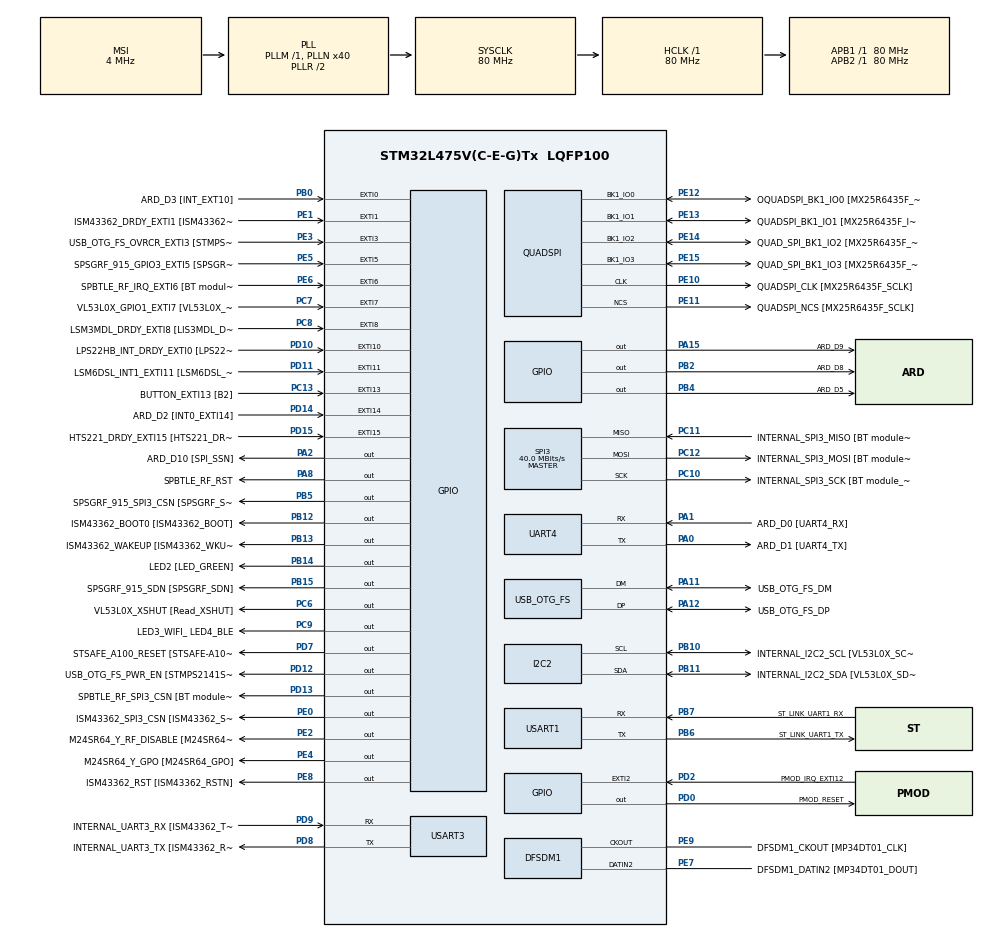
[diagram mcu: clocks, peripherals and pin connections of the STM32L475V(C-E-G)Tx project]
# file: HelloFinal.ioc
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Mcu.Family=STM32L4
Mcu.Name=STM32L475V(C-E-G)Tx
Mcu.Package=LQFP100
NVIC.EXTI15_10_IRQn=true\:0\:0\:false\:false\:true\:true\:true\:true
NVIC.EXTI9_5_IRQn=true\:0\:0\:false\:false\:true\:true\:true\:true
NVIC.PriorityGroup=NVIC_PRIORITYGROUP_4
PA0.GPIO_Label=ARD_D1 [UART4_TX]
PA0.Mode=Asynchronous
PA0.Signal=UART4_TX
PA1.GPIO_Label=ARD_D0 [UART4_RX]
PA1.Mode=Asynchronous
PA1.Signal=UART4_RX
PA10.GPIO_Label=USB_OTG_FS_ID
PA10.Signal=USB_OTG_FS_ID
PA11.GPIO_Label=USB_OTG_FS_DM
PA11.Mode=Device_Only
PA11.Signal=USB_OTG_FS_DM
PA12.GPIO_Label=USB_OTG_FS_DP
PA12.Mode=Device_Only
PA12.Signal=USB_OTG_FS_DP
PA13\ (JTMS-SWDIO).GPIO_Label=SYS_JTMS_SWDIO
PA13\ (JTMS-SWDIO).Mode=Serial_Wire
PA13\ (JTMS-SWDIO).Signal=SYS_JTMS-SWDIO
PA14\ (JTCK-SWCLK).GPIO_Label=SYS_JTCK_SWCLK
PA14\ (JTCK-SWCLK).Mode=Serial_Wire
PA14\ (JTCK-SWCLK).Signal=SYS_JTCK-SWCLK
PA15\ (JTDI).GPIO_Label=ARD_D9
PA15\ (JTDI).Signal=GPIO_Output
PA2.GPIO_Label=ARD_D10 [SPI_SSN]
PA2.Signal=GPIO_Output
PA3.GPIO_Label=ARD_D4
PA3.Signal=S_TIM2_CH4
PA4.GPIO_Label=ARD_D7
PA4.Signal=ADCx_IN9
PA5.GPIO_Label=ARD_D13 [SPI1_SCK]
PA5.Signal=SPI1_SCK
PA6.GPIO_Label=ARD_D12 [SPI1_MISO]
PA6.Signal=SPI1_MISO
PA7.GPIO_Label=ARD_D11 [SPI1_MOSI]
PA7.Signal=SPI1_MOSI
PA8.GPIO_Label=SPBTLE_RF_RST
PA8.Signal=GPIO_Output
PA9.GPIO_Label=USB_OTG_FS_VBUS [STMPS2141STR_OUT]
PA9.Signal=USB_OTG_FS_VBUS
PB0.GPIO_Label=ARD_D3 [INT_EXT10]
PB0.Signal=GPXTI0
PB1.GPIO_Label=ARD_D6 [ADC1_IN6]
PB1.Signal=ADCx_IN16
PB10.GPIO_Label=INTERNAL_I2C2_SCL [VL53L0X_SCL]
PB10.GPIO_Pu=GPIO_PULLUP
PB10.Mode=I2C
PB10.Signal=I2C2_SCL
PB11.GPIO_Label=INTERNAL_I2C2_SDA [VL53L0X_SDA]
PB11.GPIO_Pu=GPIO_PULLUP
PB11.Mode=I2C
PB11.Signal=I2C2_SDA
PB12.GPIO_Label=ISM43362_BOOT0 [ISM43362_BOOT]
PB12.Signal=GPIO_Output
PB13.GPIO_Label=ISM43362_WAKEUP [ISM43362_WKUP]
PB13.Signal=GPIO_Output
PB14.GPIO_Label=LED2 [LED_GREEN]
PB14.Signal=GPIO_Output
PB15.GPIO_Label=SPSGRF_915_SDN [SPSGRF_SDN]
PB15.Signal=GPIO_Output
PB2.GPIO_Label=ARD_D8
PB2.Signal=GPIO_Output
PB3\ (JTDO-TRACESWO).GPIO_Label=SYS_JTD0_SWO
PB3\ (JTDO-TRACESWO).Signal=SYS_JTDO-SWO
PB4\ (NJTRST).GPIO_Label=ARD_D5
PB4\ (NJTRST).Signal=GPIO_Output
PB5.GPIO_Label=SPSGRF_915_SPI3_CSN [SPSGRF_SPI_CS]
PB5.PinState=GPIO_PIN_SET
PB5.Signal=GPIO_Output
PB6.GPIO_Label=ST_LINK_UART1_TX
PB6.Mode=Asynchronous
PB6.Signal=USART1_TX
PB7.GPIO_Label=ST_LINK_UART1_RX
PB7.Mode=Asynchronous
PB7.Signal=USART1_RX
PB8.GPIO_Label=ARD_D15 [I2C1_SCL]
PB8.Signal=I2C1_SCL
PB9.GPIO_Label=ARD_D14 [I2C1_SDA]
PB9.Signal=I2C1_SDA
PC0.GPIO_Label=ARD_A5 [ADC]
PC0.Signal=ADCx_IN1
PC1.GPIO_Label=ARD_A4 [ADC]
PC1.Signal=ADCx_IN2
PC10.GPIO_Label=INTERNAL_SPI3_SCK [BT module_SPI_SCLK] [ISM43362_SCK]
PC10.Mode=Full_Duplex_Master
PC10.Signal=SPI3_SCK
PC11.GPIO_Label=INTERNAL_SPI3_MISO [BT module_SPI_MISO] [ISM43362_MISO]
PC11.Mode=Full_Duplex_Master
PC11.Signal=SPI3_MISO
PC12.GPIO_Label=INTERNAL_SPI3_MOSI [BT module_SPI_MOSI] [ISM43362_MOSI]
PC12.Mode=Full_Duplex_Master
PC12.Signal=SPI3_MOSI
PC13.GPIO_Label=BUTTON_EXTI13 [B2]
PC13.GPIO_ModeDefaultEXTI=GPIO_MODE_IT_FALLING
PC13.Signal=GPXTI13
PC14-OSC32_IN\ (PC14).Mode=LSE-External-Oscillator
PC14-OSC32_IN\ (PC14).Signal=RCC_OSC32_IN
PC15-OSC32_OUT\ (PC15).Mode=LSE-External-Oscillator
PC15-OSC32_OUT\ (PC15).Signal=RCC_OSC32_OUT
PC2.GPIO_Label=ARD_A3 [ADC]
PC2.Signal=ADCx_IN3
PC3.GPIO_Label=ARD_A2 [ADC]
PC3.Signal=ADCx_IN4
PC4.GPIO_Label=ARD_A1 [ADC]
PC4.Signal=ADCx_IN13
PC5.GPIO_Label=ARD_A0 [ADC]
PC5.Signal=ADCx_IN14
PC6.GPIO_Label=VL53L0X_XSHUT [Read_XSHUT]
PC6.Signal=GPIO_Output
PC7.GPIO_Label=VL53L0X_GPIO1_EXTI7 [VL53L0X_GPIO1]
PC7.Signal=GPXTI7
PC8.GPIO_Label=LSM3MDL_DRDY_EXTI8 [LIS3MDL_DRDY]
PC8.Signal=GPXTI8
PC9.GPIO_Label=LED3_WIFI_ LED4_BLE
PC9.Signal=GPIO_Output
PD0.GPIO_Label=PMOD_RESET
PD0.Signal=GPIO_Output
PD1.GPIO_Label=PMOD_SPI2_SCK
PD1.Signal=SPI2_SCK
PD10.GPIO_Label=LPS22HB_INT_DRDY_EXTI0 [LPS22HB_INT_DRDY] 
PD10.Signal=GPXTI10
PD11.GPIO_Label=LSM6DSL_INT1_EXTI11 [LSM6DSL_INT1]
PD11.Signal=GPXTI11
PD12.GPIO_Label=USB_OTG_FS_PWR_EN [STMPS2141STR_EN]
PD12.Signal=GPIO_Output
PD13.GPIO_Label=SPBTLE_RF_SPI3_CSN [BT module_SPI_CS]
PD13.PinState=GPIO_PIN_SET
PD13.Signal=GPIO_Output
PD14.GPIO_Label=ARD_D2 [INT0_EXTI14]
PD14.Signal=GPXTI14
PD15.GPIO_Label=HTS221_DRDY_EXTI15 [HTS221_DRDY]
PD15.Signal=GPXTI15
PD2.GPIO_Label=PMOD_IRQ_EXTI12
PD2.Signal=GPXTI2
PD3.GPIO_Label=PMOD_UART2_CTS
PD3.Signal=USART2_CTS
PD4.GPIO_Label=PMOD_UART2_RTS
PD4.Signal=USART2_RTS
PD5.GPIO_Label=PMOD_UART2_TX
PD5.Signal=USART2_TX
PD6.GPIO_Label=PMOD_UART2_RX
PD6.Signal=USART2_RX
PD7.GPIO_Label=STSAFE_A100_RESET [STSAFE-A100_RESET]
PD7.Signal=GPIO_Output
PD8.GPIO_Label=INTERNAL_UART3_TX [ISM43362_RX]
PD8.Mode=Asynchronous
PD8.Signal=USART3_TX
PD9.GPIO_Label=INTERNAL_UART3_RX [ISM43362_TX]
PD9.Mode=Asynchronous
PD9.Signal=USART3_RX
PE0.GPIO_Label=ISM43362_SPI3_CSN [ISM43362_SSN]
PE0.PinState=GPIO_PIN_SET
PE0.Signal=GPIO_Output
PE1.GPIO_Label=ISM43362_DRDY_EXTI1 [ISM43362_DATARDY]
PE1.Signal=GPXTI1
PE10.GPIO_Label=QUADSPI_CLK [MX25R6435F_SCLK]
PE10.Mode=Single Bank
PE10.Signal=QUADSPI_CLK
PE11.GPIO_Label=QUADSPI_NCS [MX25R6435F_SCLK]
PE11.Mode=Single Bank
PE11.Signal=QUADSPI_NCS
PE12.GPIO_Label=OQUADSPI_BK1_IO0 [MX25R6435F_IO0]
PE12.Mode=Single Bank
PE12.Signal=QUADSPI_BK1_IO0
PE13.GPIO_Label=QUADSPI_BK1_IO1 [MX25R6435F_IO1]
PE13.Mode=Single Bank
PE13.Signal=QUADSPI_BK1_IO1
PE14.GPIO_Label=QUAD_SPI_BK1_IO2 [MX25R6435F_IO2]
PE14.Mode=Single Bank
PE14.Signal=QUADSPI_BK1_IO2
PE15.GPIO_Label=QUAD_SPI_BK1_IO3 [MX25R6435F_IO3]
PE15.Mode=Single Bank
PE15.Signal=QUADSPI_BK1_IO3
PE2.GPIO_Label=M24SR64_Y_RF_DISABLE [M24SR64_RFDIS]
PE2.Signal=GPIO_Output
PE3.GPIO_Label=USB_OTG_FS_OVRCR_EXTI3 [STMPS2141STR_FAULT]
PE3.Signal=GPXTI3
PE4.GPIO_Label=M24SR64_Y_GPO [M24SR64_GPO]
PE4.Signal=GPIO_Output
PE5.GPIO_Label=SPSGRF_915_GPIO3_EXTI5 [SPSGRF_GPIO_3]
PE5.Signal=GPXTI5
PE6.GPIO_Label=SPBTLE_RF_IRQ_EXTI6 [BT module_SPI_IRQ]
PE6.Signal=GPXTI6
PE7.GPIO_Label=DFSDM1_DATIN2 [MP34DT01_DOUT]
PE7.Signal=S_DATAIN2DFSDM1
PE8.GPIO_Label=ISM43362_RST [ISM43362_RSTN]
PE8.Signal=GPIO_Output
PE9.GPIO_Label=DFSDM1_CKOUT [MP34DT01_CLK]
PE9.Signal=S_CKOUTDFSDM1
ProjectManager.HeapSize=0x200
ProjectManager.StackSize=0x400
ProjectManager.TargetToolchain=STM32CubeIDE
QUADSPI.ClockPrescaler=2
QUADSPI.FifoThreshold=4
QUADSPI.FlashSize=23
QUADSPI.SampleShifting=QSPI_SAMPLE_SHIFTING_HALFCYCLE
RCC.ADCFreq_Value=48000000
RCC.AHBFreq_Value=80000000
RCC.APB1Freq_Value=80000000
RCC.APB1TimFreq_Value=80000000
RCC.APB2Freq_Value=80000000
RCC.APB2TimFreq_Value=80000000
RCC.CortexFreq_Value=80000000
RCC.HCLKFreq_Value=80000000
RCC.HSE_VALUE=8000000
RCC.HSI_VALUE=16000000
RCC.MSI_VALUE=4000000
RCC.PLLN=40
RCC.PLLSAI1N=24
RCC.SYSCLKFreq_VALUE=80000000
RCC.SYSCLKSource=RCC_SYSCLKSOURCE_PLLCLK
RCC.USBFreq_Value=48000000
RCC.VCOOutputFreq_Value=160000000
SH.ADCx_IN1.0=ADC1_IN1
SH.ADCx_IN13.0=ADC1_IN13
SH.ADCx_IN14.0=ADC1_IN14
SH.ADCx_IN16.0=ADC1_IN16
SH.ADCx_IN2.0=ADC1_IN2
SH.ADCx_IN3.0=ADC1_IN3
SH.ADCx_IN4.0=ADC1_IN4
SH.ADCx_IN9.0=ADC1_IN9
SH.S_CKOUTDFSDM1.0=DFSDM1_CKOUT,CKOUT
SH.S_CKOUTDFSDM1.1=DFSDM1_CKOUT,PDM_SPI_Input_from_ch12_and_Internal_Clock
SH.S_DATAIN2DFSDM1.0=DFSDM1_DATIN2,PDM_SPI_Input_from_ch12_and_Internal_Clock
SH.S_TIM2_CH4.0=TIM2_CH4
SPI3.CalculateBaudRate=40.0 MBits/s
SPI3.Direction=SPI_DIRECTION_2LINES
SPI3.Mode=SPI_MODE_MASTER
SPI3.VirtualType=VM_MASTER
USART1.VirtualMode-Asynchronous=VM_ASYNC
USART3.VirtualMode-Asynchronous=VM_ASYNC
USB_OTG_FS.VirtualMode=Device_Only
board=B-L475E-IOT01A1

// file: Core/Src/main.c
/* USER CODE BEGIN Header */
/**
  ******************************************************************************
  * @file           : main.c
  * @brief          : Main program body
  ******************************************************************************
  * @attention
  *
  * Copyright (c) 2023 STMicroelectronics.
  * All rights reserved.
  *
  * This software is licensed under terms that can be found in the LICENSE file
  * in the root directory of this software component.
  * If no LICENSE file comes with this software, it is provided AS-IS.
  *
  ******************************************************************************
  */
/* USER CODE END Header */
#include "main.h"

/* USER CODE BEGIN Includes */
#include "stm32l4xx_ll_utils.h"
#include "stm32l4xx_ll_gpio.h"
#include "stm32l475e_iot01_tsensor.h"
#include "stdio.h"
#include "string.h"
/* USER CODE END Includes */

DFSDM_Channel_HandleTypeDef hdfsdm1_channel1;

I2C_HandleTypeDef hi2c2;

QSPI_HandleTypeDef hqspi;

SPI_HandleTypeDef hspi3;

UART_HandleTypeDef huart4;
UART_HandleTypeDef huart1;
UART_HandleTypeDef huart3;

PCD_HandleTypeDef hpcd_USB_OTG_FS;

/* USER CODE BEGIN PV */
int demo_number;
int demo_one_start;
int demo_two_start;
/* USER CODE END PV */

void SystemClock_Config(void);
static void MX_GPIO_Init(void);
static void MX_DFSDM1_Init(void);
static void MX_I2C2_Init(void);
static void MX_QUADSPI_Init(void);
static void MX_SPI3_Init(void);
static void MX_USART1_UART_Init(void);
static void MX_USART3_UART_Init(void);
static void MX_USB_OTG_FS_PCD_Init(void);
static void MX_UART4_Init(void);
/* USER CODE BEGIN PFP */
static void DEMO_Init(void);
/* USER CODE END PFP */

/* USER CODE BEGIN 0 */
int __io_putchar(int ch) {
	HAL_UART_Transmit(&huart1, (uint8_t *)&ch, 1, 1000);
	return 1;
}

//upon the button press, update the demo_number
void HAL_GPIO_EXTI_Callback(uint16_t GPIO_Pin) {
	if (GPIO_Pin == BUTTON_EXTI13_Pin) {
		//if reached max num of demos, restart
		if (demo_number == 3) {
			//reinitialize demo number and state
			DEMO_Init();
		}
		else {
			demo_number++;
		}
	}
}
/* USER CODE END 0 */

int main(void)
{

  /* MCU Configuration--------------------------------------------------------*/

  /* Reset of all peripherals, Initializes the Flash interface and the Systick. */
  HAL_Init();

  /* Configure the system clock */
  SystemClock_Config();

  /* Initialize all configured peripherals */
  MX_GPIO_Init();
  MX_DFSDM1_Init();
  MX_I2C2_Init();
  MX_QUADSPI_Init();
  MX_SPI3_Init();
  MX_USART1_UART_Init();
  MX_USART3_UART_Init();
  MX_USB_OTG_FS_PCD_Init();
  MX_UART4_Init();
  /* USER CODE BEGIN 2 */
  //initialize the demo number and states upon the start
  DEMO_Init();
  /* USER CODE END 2 */

  /* Infinite loop */
  /* USER CODE BEGIN WHILE */
  while (1)
  {
	  switch (demo_number) {
	  case 1:
		  HAL_UART_Transmit(&huart4, (uint8_t *) "DEMO 1:\n" , 10, 100);
		  //use LL API
		  if (demo_one_start) {
			  uint32_t flash_size = LL_GetFlashSize();
			  uint32_t uid[3];
			  uid[0] = LL_GetUID_Word0();
			  uid[1] = LL_GetUID_Word1();
			  uid[2] = LL_GetUID_Word2();
			  //display to the serial terminal
			  char msg[60];
			  sprintf(msg, "Flash size: %lu, UID: %lu%lu%lu\n", flash_size, uid[0], uid[1], uid[2]);
			  int len = strlen(msg) + 1;
			  HAL_UART_Transmit(&huart4, (uint8_t *) msg, len, HAL_MAX_DELAY);
			   //signify that the demo1 now has started, so no duplicate display of ids
			  demo_one_start = 0;
		  }

		  LL_GPIO_TogglePin(LED2_GPIO_Port, LED2_Pin);
		  HAL_Delay(1000);
		  break;

	   case 2:
		   HAL_UART_Transmit(&huart4, (uint8_t *) "DEMO 2:\n" , 10, 100);
		   //use HAL_API
		   if (demo_two_start) {
			   uint32_t device_id = HAL_GetDEVID();
			   uint32_t dev_unique_id[3];
			   dev_unique_id[0] = HAL_GetUIDw0();
			   dev_unique_id[1] = HAL_GetUIDw1();
			   dev_unique_id[2] = HAL_GetUIDw2();
			   char msg[60];
			   sprintf(msg, "Device ID: %lu, Device unique ID: %lu%lu%lu\n", device_id, dev_unique_id[0], dev_unique_id[1], dev_unique_id[2]);
			   int len = strlen(msg) + 1;
			   HAL_UART_Transmit(&huart4, (uint8_t *) msg, len, HAL_MAX_DELAY);
			   //signify that the demo2 now has started, so no duplicate display of ids
			   demo_two_start = 0;
		   }
		   HAL_GPIO_TogglePin(LED2_GPIO_Port, LED2_Pin);
		   HAL_Delay(2000);
		   break;

	   case 3:
		   HAL_UART_Transmit(&huart4, (uint8_t *) "DEMO 3:\n" , 10, 100);
		   //Use BSP_API
		   BSP_TSENSOR_Init();
		   float temp = BSP_TSENSOR_ReadTemp();
		   char msg[340];
		   sprintf(msg, "Temperature is: %f\n", temp);
		   int len = strlen(msg) + 1;
		   HAL_UART_Transmit(&huart4, (uint8_t*) msg, len, HAL_MAX_DELAY);
		   BSP_LED_Toggle(LED2);
		   HAL_Delay(3000);
		   break;
	  }
    /* USER CODE END WHILE */

  }
}

void SystemClock_Config(void)
{
  RCC_OscInitTypeDef RCC_OscInitStruct = {0};
  RCC_ClkInitTypeDef RCC_ClkInitStruct = {0};

  /** Configure the main internal regulator output voltage
  */
  if (HAL_PWREx_ControlVoltageScaling(PWR_REGULATOR_VOLTAGE_SCALE1) != HAL_OK)
  {
    Error_Handler();
  }

  /** Configure LSE Drive Capability
  */
  HAL_PWR_EnableBkUpAccess();
  __HAL_RCC_LSEDRIVE_CONFIG(RCC_LSEDRIVE_LOW);

  /** Initializes the RCC Oscillators according to the specified parameters
  * in the RCC_OscInitTypeDef structure.
  */
  RCC_OscInitStruct.OscillatorType = RCC_OSCILLATORTYPE_LSE|RCC_OSCILLATORTYPE_MSI;
  RCC_OscInitStruct.LSEState = RCC_LSE_ON;
  RCC_OscInitStruct.MSIState = RCC_MSI_ON;
  RCC_OscInitStruct.MSICalibrationValue = 0;
  RCC_OscInitStruct.MSIClockRange = RCC_MSIRANGE_6;
  RCC_OscInitStruct.PLL.PLLState = RCC_PLL_ON;
  RCC_OscInitStruct.PLL.PLLSource = RCC_PLLSOURCE_MSI;
  RCC_OscInitStruct.PLL.PLLM = 1;
  RCC_OscInitStruct.PLL.PLLN = 40;
  RCC_OscInitStruct.PLL.PLLP = RCC_PLLP_DIV7;
  RCC_OscInitStruct.PLL.PLLQ = RCC_PLLQ_DIV2;
  RCC_OscInitStruct.PLL.PLLR = RCC_PLLR_DIV2;
  if (HAL_RCC_OscConfig(&RCC_OscInitStruct) != HAL_OK)
  {
    Error_Handler();
  }

  /** Initializes the CPU, AHB and APB buses clocks
  */
  RCC_ClkInitStruct.ClockType = RCC_CLOCKTYPE_HCLK|RCC_CLOCKTYPE_SYSCLK
                              |RCC_CLOCKTYPE_PCLK1|RCC_CLOCKTYPE_PCLK2;
  RCC_ClkInitStruct.SYSCLKSource = RCC_SYSCLKSOURCE_PLLCLK;
  RCC_ClkInitStruct.AHBCLKDivider = RCC_SYSCLK_DIV1;
  RCC_ClkInitStruct.APB1CLKDivider = RCC_HCLK_DIV1;
  RCC_ClkInitStruct.APB2CLKDivider = RCC_HCLK_DIV1;

  if (HAL_RCC_ClockConfig(&RCC_ClkInitStruct, FLASH_LATENCY_4) != HAL_OK)
  {
    Error_Handler();
  }

  /** Enable MSI Auto calibration
  */
  HAL_RCCEx_EnableMSIPLLMode();
}

static void MX_DFSDM1_Init(void)
{

  hdfsdm1_channel1.Instance = DFSDM1_Channel1;
  hdfsdm1_channel1.Init.OutputClock.Activation = ENABLE;
  hdfsdm1_channel1.Init.OutputClock.Selection = DFSDM_CHANNEL_OUTPUT_CLOCK_SYSTEM;
  hdfsdm1_channel1.Init.OutputClock.Divider = 2;
  hdfsdm1_channel1.Init.Input.Multiplexer = DFSDM_CHANNEL_EXTERNAL_INPUTS;
  hdfsdm1_channel1.Init.Input.DataPacking = DFSDM_CHANNEL_STANDARD_MODE;
  hdfsdm1_channel1.Init.Input.Pins = DFSDM_CHANNEL_FOLLOWING_CHANNEL_PINS;
  hdfsdm1_channel1.Init.SerialInterface.Type = DFSDM_CHANNEL_SPI_RISING;
  hdfsdm1_channel1.Init.SerialInterface.SpiClock = DFSDM_CHANNEL_SPI_CLOCK_INTERNAL;
  hdfsdm1_channel1.Init.Awd.FilterOrder = DFSDM_CHANNEL_FASTSINC_ORDER;
  hdfsdm1_channel1.Init.Awd.Oversampling = 1;
  hdfsdm1_channel1.Init.Offset = 0;
  hdfsdm1_channel1.Init.RightBitShift = 0x00;
  if (HAL_DFSDM_ChannelInit(&hdfsdm1_channel1) != HAL_OK)
  {
    Error_Handler();
  }

}

static void MX_I2C2_Init(void)
{

  hi2c2.Instance = I2C2;
  hi2c2.Init.Timing = 0x00000E14;
  hi2c2.Init.OwnAddress1 = 0;
  hi2c2.Init.AddressingMode = I2C_ADDRESSINGMODE_7BIT;
  hi2c2.Init.DualAddressMode = I2C_DUALADDRESS_DISABLE;
  hi2c2.Init.OwnAddress2 = 0;
  hi2c2.Init.OwnAddress2Masks = I2C_OA2_NOMASK;
  hi2c2.Init.GeneralCallMode = I2C_GENERALCALL_DISABLE;
  hi2c2.Init.NoStretchMode = I2C_NOSTRETCH_DISABLE;
  if (HAL_I2C_Init(&hi2c2) != HAL_OK)
  {
    Error_Handler();
  }

  /** Configure Analogue filter
  */
  if (HAL_I2CEx_ConfigAnalogFilter(&hi2c2, I2C_ANALOGFILTER_ENABLE) != HAL_OK)
  {
    Error_Handler();
  }

  /** Configure Digital filter
  */
  if (HAL_I2CEx_ConfigDigitalFilter(&hi2c2, 0) != HAL_OK)
  {
    Error_Handler();
  }

}

static void MX_QUADSPI_Init(void)
{

  /* QUADSPI parameter configuration*/
  hqspi.Instance = QUADSPI;
  hqspi.Init.ClockPrescaler = 2;
  hqspi.Init.FifoThreshold = 4;
  hqspi.Init.SampleShifting = QSPI_SAMPLE_SHIFTING_HALFCYCLE;
  hqspi.Init.FlashSize = 23;
  hqspi.Init.ChipSelectHighTime = QSPI_CS_HIGH_TIME_1_CYCLE;
  hqspi.Init.ClockMode = QSPI_CLOCK_MODE_0;
  if (HAL_QSPI_Init(&hqspi) != HAL_OK)
  {
    Error_Handler();
  }

}

static void MX_SPI3_Init(void)
{

  /* SPI3 parameter configuration*/
  hspi3.Instance = SPI3;
  hspi3.Init.Mode = SPI_MODE_MASTER;
  hspi3.Init.Direction = SPI_DIRECTION_2LINES;
  hspi3.Init.DataSize = SPI_DATASIZE_4BIT;
  hspi3.Init.CLKPolarity = SPI_POLARITY_LOW;
  hspi3.Init.CLKPhase = SPI_PHASE_1EDGE;
  hspi3.Init.NSS = SPI_NSS_SOFT;
  hspi3.Init.BaudRatePrescaler = SPI_BAUDRATEPRESCALER_2;
  hspi3.Init.FirstBit = SPI_FIRSTBIT_MSB;
  hspi3.Init.TIMode = SPI_TIMODE_DISABLE;
  hspi3.Init.CRCCalculation = SPI_CRCCALCULATION_DISABLE;
  hspi3.Init.CRCPolynomial = 7;
  hspi3.Init.CRCLength = SPI_CRC_LENGTH_DATASIZE;
  hspi3.Init.NSSPMode = SPI_NSS_PULSE_ENABLE;
  if (HAL_SPI_Init(&hspi3) != HAL_OK)
  {
    Error_Handler();
  }

}

static void MX_UART4_Init(void)
{

  huart4.Instance = UART4;
  huart4.Init.BaudRate = 115200;
  huart4.Init.WordLength = UART_WORDLENGTH_8B;
  huart4.Init.StopBits = UART_STOPBITS_1;
  huart4.Init.Parity = UART_PARITY_NONE;
  huart4.Init.Mode = UART_MODE_TX_RX;
  huart4.Init.HwFlowCtl = UART_HWCONTROL_NONE;
  huart4.Init.OverSampling = UART_OVERSAMPLING_16;
  huart4.Init.OneBitSampling = UART_ONE_BIT_SAMPLE_DISABLE;
  huart4.AdvancedInit.AdvFeatureInit = UART_ADVFEATURE_NO_INIT;
  if (HAL_UART_Init(&huart4) != HAL_OK)
  {
    Error_Handler();
  }

}

static void MX_USART1_UART_Init(void)
{

  huart1.Instance = USART1;
  huart1.Init.BaudRate = 115200;
  huart1.Init.WordLength = UART_WORDLENGTH_8B;
  huart1.Init.StopBits = UART_STOPBITS_1;
  huart1.Init.Parity = UART_PARITY_NONE;
  huart1.Init.Mode = UART_MODE_TX_RX;
  huart1.Init.HwFlowCtl = UART_HWCONTROL_NONE;
  huart1.Init.OverSampling = UART_OVERSAMPLING_16;
  huart1.Init.OneBitSampling = UART_ONE_BIT_SAMPLE_DISABLE;
  huart1.AdvancedInit.AdvFeatureInit = UART_ADVFEATURE_NO_INIT;
  if (HAL_UART_Init(&huart1) != HAL_OK)
  {
    Error_Handler();
  }

}

static void MX_USART3_UART_Init(void)
{

  huart3.Instance = USART3;
  huart3.Init.BaudRate = 115200;
  huart3.Init.WordLength = UART_WORDLENGTH_8B;
  huart3.Init.StopBits = UART_STOPBITS_1;
  huart3.Init.Parity = UART_PARITY_NONE;
  huart3.Init.Mode = UART_MODE_TX_RX;
  huart3.Init.HwFlowCtl = UART_HWCONTROL_NONE;
  huart3.Init.OverSampling = UART_OVERSAMPLING_16;
  huart3.Init.OneBitSampling = UART_ONE_BIT_SAMPLE_DISABLE;
  huart3.AdvancedInit.AdvFeatureInit = UART_ADVFEATURE_NO_INIT;
  if (HAL_UART_Init(&huart3) != HAL_OK)
  {
    Error_Handler();
  }

}

static void MX_USB_OTG_FS_PCD_Init(void)
{

  hpcd_USB_OTG_FS.Instance = USB_OTG_FS;
  hpcd_USB_OTG_FS.Init.dev_endpoints = 6;
  hpcd_USB_OTG_FS.Init.speed = PCD_SPEED_FULL;
  hpcd_USB_OTG_FS.Init.phy_itface = PCD_PHY_EMBEDDED;
  hpcd_USB_OTG_FS.Init.Sof_enable = DISABLE;
  hpcd_USB_OTG_FS.Init.low_power_enable = DISABLE;
  hpcd_USB_OTG_FS.Init.lpm_enable = DISABLE;
  hpcd_USB_OTG_FS.Init.battery_charging_enable = DISABLE;
  hpcd_USB_OTG_FS.Init.use_dedicated_ep1 = DISABLE;
  hpcd_USB_OTG_FS.Init.vbus_sensing_enable = DISABLE;
  if (HAL_PCD_Init(&hpcd_USB_OTG_FS) != HAL_OK)
  {
    Error_Handler();
  }

}

static void MX_GPIO_Init(void)
{
  GPIO_InitTypeDef GPIO_InitStruct = {0};

  /* GPIO Ports Clock Enable */
  __HAL_RCC_GPIOE_CLK_ENABLE();
  __HAL_RCC_GPIOC_CLK_ENABLE();
  __HAL_RCC_GPIOA_CLK_ENABLE();
  __HAL_RCC_GPIOB_CLK_ENABLE();
  __HAL_RCC_GPIOD_CLK_ENABLE();

  /*Configure GPIO pin Output Level */
  HAL_GPIO_WritePin(GPIOE, M24SR64_Y_RF_DISABLE_Pin|M24SR64_Y_GPO_Pin|ISM43362_RST_Pin, GPIO_PIN_RESET);

  /*Configure GPIO pin Output Level */
  HAL_GPIO_WritePin(GPIOA, ARD_D10_Pin|SPBTLE_RF_RST_Pin|ARD_D9_Pin, GPIO_PIN_RESET);

  /*Configure GPIO pin Output Level */
  HAL_GPIO_WritePin(GPIOB, ARD_D8_Pin|ISM43362_BOOT0_Pin|ISM43362_WAKEUP_Pin|LED2_Pin
                          |SPSGRF_915_SDN_Pin|ARD_D5_Pin, GPIO_PIN_RESET);

  /*Configure GPIO pin Output Level */
  HAL_GPIO_WritePin(GPIOD, USB_OTG_FS_PWR_EN_Pin|PMOD_RESET_Pin|STSAFE_A100_RESET_Pin, GPIO_PIN_RESET);

  /*Configure GPIO pin Output Level */
  HAL_GPIO_WritePin(SPBTLE_RF_SPI3_CSN_GPIO_Port, SPBTLE_RF_SPI3_CSN_Pin, GPIO_PIN_SET);

  /*Configure GPIO pin Output Level */
  HAL_GPIO_WritePin(GPIOC, VL53L0X_XSHUT_Pin|LED3_WIFI__LED4_BLE_Pin, GPIO_PIN_RESET);

  /*Configure GPIO pin Output Level */
  HAL_GPIO_WritePin(SPSGRF_915_SPI3_CSN_GPIO_Port, SPSGRF_915_SPI3_CSN_Pin, GPIO_PIN_SET);

  /*Configure GPIO pin Output Level */
  HAL_GPIO_WritePin(ISM43362_SPI3_CSN_GPIO_Port, ISM43362_SPI3_CSN_Pin, GPIO_PIN_SET);

  /*Configure GPIO pins : M24SR64_Y_RF_DISABLE_Pin M24SR64_Y_GPO_Pin ISM43362_RST_Pin ISM43362_SPI3_CSN_Pin */
  GPIO_InitStruct.Pin = M24SR64_Y_RF_DISABLE_Pin|M24SR64_Y_GPO_Pin|ISM43362_RST_Pin|ISM43362_SPI3_CSN_Pin;
  GPIO_InitStruct.Mode = GPIO_MODE_OUTPUT_PP;
  GPIO_InitStruct.Pull = GPIO_NOPULL;
  GPIO_InitStruct.Speed = GPIO_SPEED_FREQ_LOW;
  HAL_GPIO_Init(GPIOE, &GPIO_InitStruct);

  /*Configure GPIO pins : USB_OTG_FS_OVRCR_EXTI3_Pin SPSGRF_915_GPIO3_EXTI5_Pin SPBTLE_RF_IRQ_EXTI6_Pin ISM43362_DRDY_EXTI1_Pin */
  GPIO_InitStruct.Pin = USB_OTG_FS_OVRCR_EXTI3_Pin|SPSGRF_915_GPIO3_EXTI5_Pin|SPBTLE_RF_IRQ_EXTI6_Pin|ISM43362_DRDY_EXTI1_Pin;
  GPIO_InitStruct.Mode = GPIO_MODE_IT_RISING;
  GPIO_InitStruct.Pull = GPIO_NOPULL;
  HAL_GPIO_Init(GPIOE, &GPIO_InitStruct);

  /*Configure GPIO pin : BUTTON_EXTI13_Pin */
  GPIO_InitStruct.Pin = BUTTON_EXTI13_Pin;
  GPIO_InitStruct.Mode = GPIO_MODE_IT_FALLING;
  GPIO_InitStruct.Pull = GPIO_NOPULL;
  HAL_GPIO_Init(BUTTON_EXTI13_GPIO_Port, &GPIO_InitStruct);

  /*Configure GPIO pins : ARD_A5_Pin ARD_A4_Pin ARD_A3_Pin ARD_A2_Pin
                           ARD_A1_Pin ARD_A0_Pin */
  GPIO_InitStruct.Pin = ARD_A5_Pin|ARD_A4_Pin|ARD_A3_Pin|ARD_A2_Pin
                          |ARD_A1_Pin|ARD_A0_Pin;
  GPIO_InitStruct.Mode = GPIO_MODE_ANALOG_ADC_CONTROL;
  GPIO_InitStruct.Pull = GPIO_NOPULL;
  HAL_GPIO_Init(GPIOC, &GPIO_InitStruct);

  /*Configure GPIO pins : ARD_D10_Pin SPBTLE_RF_RST_Pin ARD_D9_Pin */
  GPIO_InitStruct.Pin = ARD_D10_Pin|SPBTLE_RF_RST_Pin|ARD_D9_Pin;
  GPIO_InitStruct.Mode = GPIO_MODE_OUTPUT_PP;
  GPIO_InitStruct.Pull = GPIO_NOPULL;
  GPIO_InitStruct.Speed = GPIO_SPEED_FREQ_LOW;
  HAL_GPIO_Init(GPIOA, &GPIO_InitStruct);

  /*Configure GPIO pin : ARD_D4_Pin */
  GPIO_InitStruct.Pin = ARD_D4_Pin;
  GPIO_InitStruct.Mode = GPIO_MODE_AF_PP;
  GPIO_InitStruct.Pull = GPIO_NOPULL;
  GPIO_InitStruct.Speed = GPIO_SPEED_FREQ_LOW;
  GPIO_InitStruct.Alternate = GPIO_AF1_TIM2;
  HAL_GPIO_Init(ARD_D4_GPIO_Port, &GPIO_InitStruct);

  /*Configure GPIO pin : ARD_D7_Pin */
  GPIO_InitStruct.Pin = ARD_D7_Pin;
  GPIO_InitStruct.Mode = GPIO_MODE_ANALOG_ADC_CONTROL;
  GPIO_InitStruct.Pull = GPIO_NOPULL;
  HAL_GPIO_Init(ARD_D7_GPIO_Port, &GPIO_InitStruct);

  /*Configure GPIO pins : ARD_D13_Pin ARD_D12_Pin ARD_D11_Pin */
  GPIO_InitStruct.Pin = ARD_D13_Pin|ARD_D12_Pin|ARD_D11_Pin;
  GPIO_InitStruct.Mode = GPIO_MODE_AF_PP;
  GPIO_InitStruct.Pull = GPIO_NOPULL;
  GPIO_InitStruct.Speed = GPIO_SPEED_FREQ_VERY_HIGH;
  GPIO_InitStruct.Alternate = GPIO_AF5_SPI1;
  HAL_GPIO_Init(GPIOA, &GPIO_InitStruct);

  /*Configure GPIO pin : ARD_D3_Pin */
  GPIO_InitStruct.Pin = ARD_D3_Pin;
  GPIO_InitStruct.Mode = GPIO_MODE_IT_RISING;
  GPIO_InitStruct.Pull = GPIO_NOPULL;
  HAL_GPIO_Init(ARD_D3_GPIO_Port, &GPIO_InitStruct);

  /*Configure GPIO pin : ARD_D6_Pin */
  GPIO_InitStruct.Pin = ARD_D6_Pin;
  GPIO_InitStruct.Mode = GPIO_MODE_ANALOG_ADC_CONTROL;
  GPIO_InitStruct.Pull = GPIO_NOPULL;
  HAL_GPIO_Init(ARD_D6_GPIO_Port, &GPIO_InitStruct);

  /*Configure GPIO pins : ARD_D8_Pin ISM43362_BOOT0_Pin ISM43362_WAKEUP_Pin LED2_Pin
                           SPSGRF_915_SDN_Pin ARD_D5_Pin SPSGRF_915_SPI3_CSN_Pin */
  GPIO_InitStruct.Pin = ARD_D8_Pin|ISM43362_BOOT0_Pin|ISM43362_WAKEUP_Pin|LED2_Pin
                          |SPSGRF_915_SDN_Pin|ARD_D5_Pin|SPSGRF_915_SPI3_CSN_Pin;
  GPIO_InitStruct.Mode = GPIO_MODE_OUTPUT_PP;
  GPIO_InitStruct.Pull = GPIO_NOPULL;
  GPIO_InitStruct.Speed = GPIO_SPEED_FREQ_LOW;
  HAL_GPIO_Init(GPIOB, &GPIO_InitStruct);

  /*Configure GPIO pins : LPS22HB_INT_DRDY_EXTI0_Pin LSM6DSL_INT1_EXTI11_Pin ARD_D2_Pin HTS221_DRDY_EXTI15_Pin
                           PMOD_IRQ_EXTI12_Pin */
  GPIO_InitStruct.Pin = LPS22HB_INT_DRDY_EXTI0_Pin|LSM6DSL_INT1_EXTI11_Pin|ARD_D2_Pin|HTS221_DRDY_EXTI15_Pin
                          |PMOD_IRQ_EXTI12_Pin;
  GPIO_InitStruct.Mode = GPIO_MODE_IT_RISING;
  GPIO_InitStruct.Pull = GPIO_NOPULL;
  HAL_GPIO_Init(GPIOD, &GPIO_InitStruct);

  /*Configure GPIO pins : USB_OTG_FS_PWR_EN_Pin SPBTLE_RF_SPI3_CSN_Pin PMOD_RESET_Pin STSAFE_A100_RESET_Pin */
  GPIO_InitStruct.Pin = USB_OTG_FS_PWR_EN_Pin|SPBTLE_RF_SPI3_CSN_Pin|PMOD_RESET_Pin|STSAFE_A100_RESET_Pin;
  GPIO_InitStruct.Mode = GPIO_MODE_OUTPUT_PP;
  GPIO_InitStruct.Pull = GPIO_NOPULL;
  GPIO_InitStruct.Speed = GPIO_SPEED_FREQ_LOW;
  HAL_GPIO_Init(GPIOD, &GPIO_InitStruct);

  /*Configure GPIO pins : VL53L0X_XSHUT_Pin LED3_WIFI__LED4_BLE_Pin */
  GPIO_InitStruct.Pin = VL53L0X_XSHUT_Pin|LED3_WIFI__LED4_BLE_Pin;
  GPIO_InitStruct.Mode = GPIO_MODE_OUTPUT_PP;
  GPIO_InitStruct.Pull = GPIO_NOPULL;
  GPIO_InitStruct.Speed = GPIO_SPEED_FREQ_LOW;
  HAL_GPIO_Init(GPIOC, &GPIO_InitStruct);

  /*Configure GPIO pins : VL53L0X_GPIO1_EXTI7_Pin LSM3MDL_DRDY_EXTI8_Pin */
  GPIO_InitStruct.Pin = VL53L0X_GPIO1_EXTI7_Pin|LSM3MDL_DRDY_EXTI8_Pin;
  GPIO_InitStruct.Mode = GPIO_MODE_IT_RISING;
  GPIO_InitStruct.Pull = GPIO_NOPULL;
  HAL_GPIO_Init(GPIOC, &GPIO_InitStruct);

  /*Configure GPIO pin : PMOD_SPI2_SCK_Pin */
  GPIO_InitStruct.Pin = PMOD_SPI2_SCK_Pin;
  GPIO_InitStruct.Mode = GPIO_MODE_AF_PP;
  GPIO_InitStruct.Pull = GPIO_NOPULL;
  GPIO_InitStruct.Speed = GPIO_SPEED_FREQ_VERY_HIGH;
  GPIO_InitStruct.Alternate = GPIO_AF5_SPI2;
  HAL_GPIO_Init(PMOD_SPI2_SCK_GPIO_Port, &GPIO_InitStruct);

  /*Configure GPIO pins : PMOD_UART2_CTS_Pin PMOD_UART2_RTS_Pin PMOD_UART2_TX_Pin PMOD_UART2_RX_Pin */
  GPIO_InitStruct.Pin = PMOD_UART2_CTS_Pin|PMOD_UART2_RTS_Pin|PMOD_UART2_TX_Pin|PMOD_UART2_RX_Pin;
  GPIO_InitStruct.Mode = GPIO_MODE_AF_PP;
  GPIO_InitStruct.Pull = GPIO_NOPULL;
  GPIO_InitStruct.Speed = GPIO_SPEED_FREQ_VERY_HIGH;
  GPIO_InitStruct.Alternate = GPIO_AF7_USART2;
  HAL_GPIO_Init(GPIOD, &GPIO_InitStruct);

  /*Configure GPIO pins : ARD_D15_Pin ARD_D14_Pin */
  GPIO_InitStruct.Pin = ARD_D15_Pin|ARD_D14_Pin;
  GPIO_InitStruct.Mode = GPIO_MODE_AF_OD;
  GPIO_InitStruct.Pull = GPIO_NOPULL;
  GPIO_InitStruct.Speed = GPIO_SPEED_FREQ_VERY_HIGH;
  GPIO_InitStruct.Alternate = GPIO_AF4_I2C1;
  HAL_GPIO_Init(GPIOB, &GPIO_InitStruct);

  /* EXTI interrupt init*/
  HAL_NVIC_SetPriority(EXTI9_5_IRQn, 0, 0);
  HAL_NVIC_EnableIRQ(EXTI9_5_IRQn);

  HAL_NVIC_SetPriority(EXTI15_10_IRQn, 0, 0);
  HAL_NVIC_EnableIRQ(EXTI15_10_IRQn);

}

/* USER CODE BEGIN 4 */
static void DEMO_Init(void)
{
	demo_number = 1;
	demo_one_start = 1;
	demo_two_start = 1;
}
/* USER CODE END 4 */

void Error_Handler(void)
{
  __disable_irq();
  while (1)
  {
  }
}
